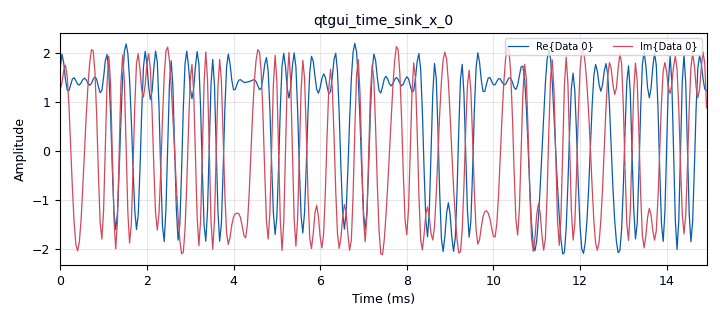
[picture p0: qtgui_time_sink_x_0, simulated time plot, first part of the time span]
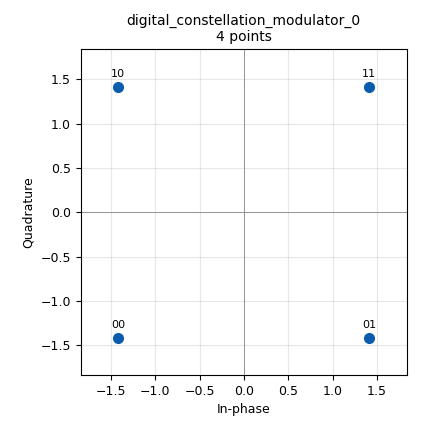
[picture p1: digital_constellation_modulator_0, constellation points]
options:
  parameters:
    author: Perspecta Labs Inc.
    generate_options: qt_gui
    id: ctf_hint_2
    output_language: python
    title: BF CTF Hint 2
  states: {}

blocks:
- name: constel
  id: variable_constellation
  parameters:
    const_points: '[1,-1]'
    precision: '8'
    rot_sym: '2'
    sym_map: '[0,1]'
    type: qpsk
  states: {}
- name: data
  id: variable
  parameters:
    value: datavecs[1]
  states: {}
- name: datavecs
  id: variable
  parameters:
    value: '[list(bytearray(flags[0],''UTF-8'')),list(bytearray(flags[1],''UTF-8''))]'
  states: {}
- name: eb
  id: variable
  parameters:
    value: '.35'
  states: {}
- name: flags
  id: variable
  parameters:
    value: '[''not_the_flag'',''not_the_flag'']'
  states: {}
- name: preamble
  id: variable
  parameters:
    value: text_preambles[1]
  states: {}
- name: samp_rate
  id: variable
  parameters:
    value: '25000'
  states: {}
- name: sps
  id: variable
  parameters:
    value: '4'
  states: {}
- name: text_preambles
  id: variable
  parameters:
    value: '[list(bytearray(''PERSPECTA_LABS_WCTF_GRCON2019'',''UTF-8'')),list(bytearray(''first_to_solve_gets_the_prize'',''UTF-8''))]'
  states: {}
- name: blocks_throttle_0
  id: blocks_throttle
  parameters:
    samples_per_second: samp_rate
    type: complex
  states: {}
- name: blocks_vector_source_x_0_0
  id: blocks_vector_source_x
  parameters:
    repeat: 'True'
    type: byte
    vector: preamble+data
  states: {}
- name: digital_constellation_modulator_0
  id: digital_constellation_modulator
  parameters:
    constellation: constel
    differential: 'False'
    excess_bw: eb
    samples_per_symbol: sps
  states: {}
- name: qtgui_time_sink_x_0
  id: qtgui_time_sink_x
  parameters:
    autoscale: 'True'
    size: '1024'
    srate: samp_rate
    type: complex
  states: {}

connections:
- [blocks_throttle_0, '0', qtgui_time_sink_x_0, '0']
- [blocks_vector_source_x_0_0, '0', digital_constellation_modulator_0, '0']
- [digital_constellation_modulator_0, '0', blocks_throttle_0, '0']

metadata:
  file_format: 1
